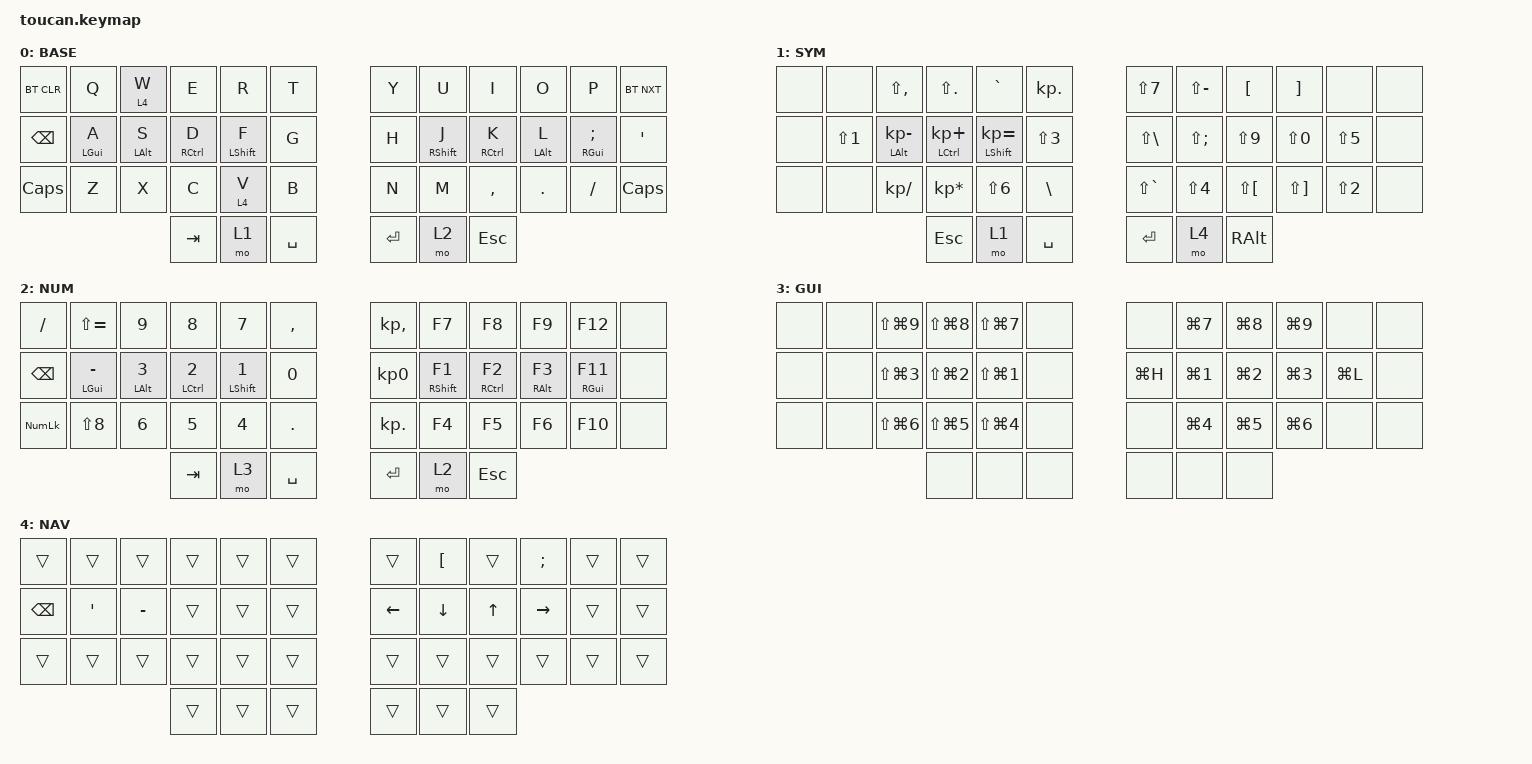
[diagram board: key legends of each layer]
#include <behaviors.dtsi>
#include <dt-bindings/zmk/keys.h>
#include <dt-bindings/zmk/bt.h>

#define BASE 0
#define SYM  1
#define NUM  2
#define GUI  3
#define NAV  4

/* Match the QMK/Vial mod-tap behavior and global 200 ms tapping term. */
&mt {
    flavor = "tap-preferred";
    tapping-term-ms = <200>;
};

/ {
    behaviors {
        /*
         * The active Vial tap dances use 120 ms and only tap + hold actions.
         * Vial resolves an interrupted dance as a tap. Toucan2 has physical
         * key positions 0..41, so the intentionally nonexistent position 42
         * makes every real-key interrupt resolve as tap, while an uninterrupted
         * 120 ms hold resolves as hold.
         */
        vial_td_mod: vial_td_mod_120 {
            compatible = "zmk,behavior-hold-tap";
            #binding-cells = <2>;
            flavor = "hold-preferred";
            tapping-term-ms = <120>;
            bindings = <&kp>, <&kp>;
            hold-trigger-key-positions = <42>;
            display-name = "Vial TD Mod 120";
        };

        vial_td_layer: vial_td_layer_120 {
            compatible = "zmk,behavior-hold-tap";
            #binding-cells = <2>;
            flavor = "hold-preferred";
            tapping-term-ms = <120>;
            bindings = <&mo>, <&kp>;
            hold-trigger-key-positions = <42>;
            display-name = "Vial TD Layer 120";
        };
    };

    keymap {
        compatible = "zmk,keymap";
        base {
            display-name = "BASE";
            bindings = <
                // Row 1
                &bt BT_CLR    &kp Q    &vial_td_layer 4 W    &kp E    &kp R    &kp T    &kp Y    &kp U    &kp I    &kp O    &kp P    &bt BT_NXT
                // Row 2
                &kp BSPC    &vial_td_mod LGUI A    &vial_td_mod LALT S    &vial_td_mod RCTRL D    &vial_td_mod LSHIFT F    &kp G    &kp H    &vial_td_mod RSHIFT J    &vial_td_mod RCTRL K    &vial_td_mod LALT L    &vial_td_mod RGUI SEMI    &kp SQT
                // Row 3
                &kp CAPSLOCK    &kp Z    &kp X    &kp C    &vial_td_layer 4 V    &kp B    &kp N    &kp M    &kp COMMA    &kp DOT    &kp FSLH    &kp CAPSLOCK
                // Thumbs
                &kp TAB    &mo 1    &kp SPACE    &kp ENTER    &mo 2    &kp ESC
            >;
        };

        symbols {
            display-name = "SYM";
            bindings = <
                // Row 1
                &none    &none    &kp LS(COMMA)    &kp LS(DOT)    &kp GRAVE    &kp KP_DOT    &kp LS(N7)    &kp LS(MINUS)    &kp LBKT    &kp RBKT    &none    &none
                // Row 2
                &none    &kp LS(N1)    &mt LALT KP_MINUS    &mt LCTRL KP_PLUS    &mt LSHIFT KP_EQUAL    &kp LS(N3)    &kp LS(BSLH)    &kp LS(SEMI)    &kp LS(N9)    &kp LS(N0)    &kp LS(N5)    &none
                // Row 3
                &none    &none    &kp KP_SLASH    &kp KP_ASTERISK    &kp LS(N6)    &kp BSLH    &kp LS(GRAVE)    &kp LS(N4)    &kp LS(LBKT)    &kp LS(RBKT)    &kp LS(N2)    &none
                // Thumbs
                &kp ESC    &mo 1    &kp SPACE    &kp ENTER    &mo 4    &kp RALT
            >;
        };

        numbers {
            display-name = "NUM";
            bindings = <
                // Row 1
                &kp FSLH    &kp LS(EQUAL)    &kp N9    &kp N8    &kp N7    &kp COMMA    &kp KP_COMMA    &kp F7    &kp F8    &kp F9    &kp F12    &none
                // Row 2
                &kp BSPC    &mt LGUI MINUS    &mt LALT N3    &mt LCTRL N2    &mt LSHIFT N1    &kp N0    &kp KP_N0    &mt RSHIFT F1    &mt RCTRL F2    &mt RALT F3    &mt RGUI F11    &none
                // Row 3
                &kp KP_NUMLOCK    &kp LS(N8)    &kp N6    &kp N5    &kp N4    &kp DOT    &kp KP_DOT    &kp F4    &kp F5    &kp F6    &kp F10    &none
                // Thumbs
                &kp TAB    &mo 3    &kp SPACE    &kp ENTER    &mo 2    &kp ESC
            >;
        };

        gui {
            display-name = "GUI";
            bindings = <
                // Row 1
                &none    &none    &kp LS(LG(N9))    &kp LS(LG(N8))    &kp LS(LG(N7))    &none    &none    &kp LG(N7)    &kp LG(N8)    &kp LG(N9)    &none    &none
                // Row 2
                &none    &none    &kp LS(LG(N3))    &kp LS(LG(N2))    &kp LS(LG(N1))    &none    &kp LG(H)    &kp LG(N1)    &kp LG(N2)    &kp LG(N3)    &kp LG(L)    &none
                // Row 3
                &none    &none    &kp LS(LG(N6))    &kp LS(LG(N5))    &kp LS(LG(N4))    &none    &none    &kp LG(N4)    &kp LG(N5)    &kp LG(N6)    &none    &none
                // Thumbs
                &none    &none    &none    &none    &none    &none
            >;
        };

        nav {
            display-name = "NAV";
            bindings = <
                // Row 1
                &trans    &trans    &trans    &trans    &trans    &trans    &trans    &kp LBKT    &trans    &kp SEMI    &trans    &trans
                // Row 2
                &kp BSPC    &kp SQT    &kp MINUS    &trans    &trans    &trans    &kp LEFT    &kp DOWN    &kp UP    &kp RIGHT    &trans    &trans
                // Row 3
                &trans    &trans    &trans    &trans    &trans    &trans    &trans    &trans    &trans    &trans    &trans    &trans
                // Thumbs
                &trans    &trans    &trans    &trans    &trans    &trans
            >;
        };
    };
};
